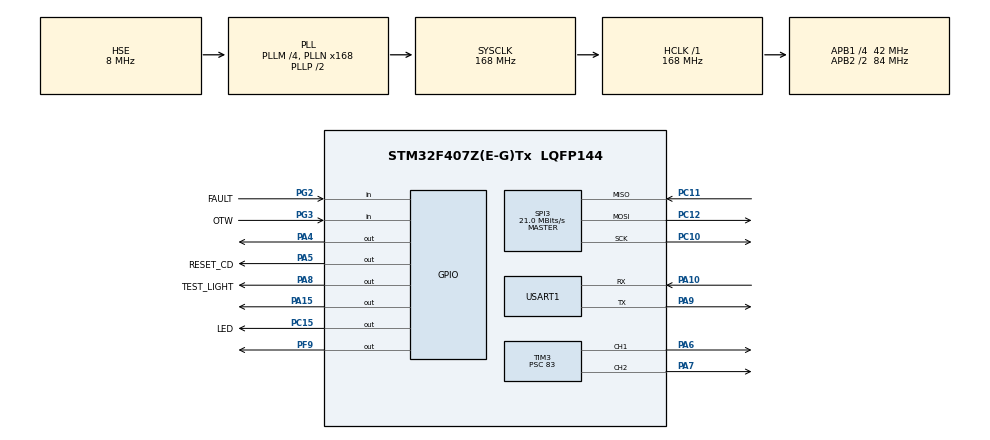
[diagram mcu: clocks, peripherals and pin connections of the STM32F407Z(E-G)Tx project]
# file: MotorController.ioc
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Mcu.Family=STM32F4
Mcu.Name=STM32F407Z(E-G)Tx
Mcu.Package=LQFP144
NVIC.PriorityGroup=NVIC_PRIORITYGROUP_4
NVIC.TIM2_IRQn=true\:0\:0\:true\:false\:true\:true
NVIC.TIM3_IRQn=true\:0\:0\:false\:false\:true\:true
PA10.Mode=Asynchronous
PA10.Signal=USART1_RX
PA15.Signal=GPIO_Output
PA4.Signal=GPIO_Output
PA5.GPIO_Label=RESET_CD
PA5.Signal=GPIO_Output
PA6.Signal=S_TIM3_CH1
PA7.Signal=S_TIM3_CH2
PA8.GPIO_Label=TEST_LIGHT
PA8.Signal=GPIO_Output
PA9.Mode=Asynchronous
PA9.Signal=USART1_TX
PC10.Mode=Full_Duplex_Master
PC10.Signal=SPI3_SCK
PC11.Mode=Full_Duplex_Master
PC11.Signal=SPI3_MISO
PC12.Mode=Full_Duplex_Master
PC12.Signal=SPI3_MOSI
PC15-OSC32_OUT.GPIO_Label=LED
PC15-OSC32_OUT.Signal=GPIO_Output
PF9.Signal=GPIO_Output
PG2.GPIO_Label=FAULT
PG2.Signal=GPIO_Input
PG3.GPIO_Label=OTW
PG3.Signal=GPIO_Input
PH0-OSC_IN.Mode=HSE-External-Oscillator
PH0-OSC_IN.Signal=RCC_OSC_IN
PH1-OSC_OUT.Mode=HSE-External-Oscillator
PH1-OSC_OUT.Signal=RCC_OSC_OUT
ProjectManager.HeapSize=0x200
ProjectManager.StackSize=0x400
ProjectManager.TargetToolchain=MDK-ARM V5
RCC.48MHZClocksFreq_Value=84000000
RCC.AHBFreq_Value=168000000
RCC.APB1CLKDivider=RCC_HCLK_DIV4
RCC.APB1Freq_Value=42000000
RCC.APB1TimFreq_Value=84000000
RCC.APB2CLKDivider=RCC_HCLK_DIV2
RCC.APB2Freq_Value=84000000
RCC.APB2TimFreq_Value=168000000
RCC.CortexFreq_Value=168000000
RCC.HCLKFreq_Value=168000000
RCC.HSE_VALUE=8000000
RCC.HSI_VALUE=16000000
RCC.LSE_VALUE=32768
RCC.PLLM=4
RCC.PLLN=168
RCC.PLLSourceVirtual=RCC_PLLSOURCE_HSE
RCC.SYSCLKFreq_VALUE=168000000
RCC.SYSCLKSource=RCC_SYSCLKSOURCE_PLLCLK
RCC.VCOOutputFreq_Value=336000000
SH.S_TIM3_CH1.0=TIM3_CH1,Output Compare1 CH1
SH.S_TIM3_CH2.0=TIM3_CH2,Output Compare2 CH2
SPI3.CalculateBaudRate=21.0 MBits/s
SPI3.Direction=SPI_DIRECTION_2LINES
SPI3.Mode=SPI_MODE_MASTER
SPI3.VirtualType=VM_MASTER
TIM2.Period=999
TIM2.Prescaler=839
TIM3.Channel-Output\ Compare1\ CH1=TIM_CHANNEL_1
TIM3.Channel-Output\ Compare2\ CH2=TIM_CHANNEL_2
TIM3.Period=499
TIM3.Prescaler=83
USART1.VirtualMode=VM_ASYNC
VP_TIM2_VS_ClockSourceINT.Mode=Internal
board=MotorController

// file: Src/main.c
/**
  ******************************************************************************
  * File Name          : main.c
  * Description        : Main program body
  ******************************************************************************
  ** This notice applies to any and all portions of this file
  * that are not between comment pairs USER CODE BEGIN and
  * USER CODE END. Other portions of this file, whether
  * inserted by the user or by software development tools
  * are owned by their respective copyright owners.
  *
  * COPYRIGHT(c) 2018 STMicroelectronics
  *
  * Redistribution and use in source and binary forms, with or without modification,
  * are permitted provided that the following conditions are met:
  *   1. Redistributions of source code must retain the above copyright notice,
  *      this list of conditions and the following disclaimer.
  *   2. Redistributions in binary form must reproduce the above copyright notice,
  *      this list of conditions and the following disclaimer in the documentation
  *      and/or other materials provided with the distribution.
  *   3. Neither the name of STMicroelectronics nor the names of its contributors
  *      may be used to endorse or promote products derived from this software
  *      without specific prior written permission.
  *
  * THIS SOFTWARE IS PROVIDED BY THE COPYRIGHT HOLDERS AND CONTRIBUTORS "AS IS"
  * AND ANY EXPRESS OR IMPLIED WARRANTIES, INCLUDING, BUT NOT LIMITED TO, THE
  * IMPLIED WARRANTIES OF MERCHANTABILITY AND FITNESS FOR A PARTICULAR PURPOSE ARE
  * DISCLAIMED. IN NO EVENT SHALL THE COPYRIGHT HOLDER OR CONTRIBUTORS BE LIABLE
  * FOR ANY DIRECT, INDIRECT, INCIDENTAL, SPECIAL, EXEMPLARY, OR CONSEQUENTIAL
  * DAMAGES (INCLUDING, BUT NOT LIMITED TO, PROCUREMENT OF SUBSTITUTE GOODS OR
  * SERVICES; LOSS OF USE, DATA, OR PROFITS; OR BUSINESS INTERRUPTION) HOWEVER
  * CAUSED AND ON ANY THEORY OF LIABILITY, WHETHER IN CONTRACT, STRICT LIABILITY,
  * OR TORT (INCLUDING NEGLIGENCE OR OTHERWISE) ARISING IN ANY WAY OUT OF THE USE
  * OF THIS SOFTWARE, EVEN IF ADVISED OF THE POSSIBILITY OF SUCH DAMAGE.
  *
  ******************************************************************************
  */

#include "main.h"
#include "stm32f4xx_hal.h"

SPI_HandleTypeDef hspi3;

TIM_HandleTypeDef htim2;
TIM_HandleTypeDef htim3;

UART_HandleTypeDef huart1;

/* USER CODE BEGIN PV */
/* Private variables ---------------------------------------------------------*/

/* USER CODE END PV */

void SystemClock_Config(void);
static void MX_GPIO_Init(void);
static void MX_TIM3_Init(void);
static void MX_USART1_UART_Init(void);
static void MX_TIM2_Init(void);
static void MX_SPI3_Init(void);

void HAL_TIM_MspPostInit(TIM_HandleTypeDef *htim);

/* USER CODE BEGIN PFP */
/* Private function prototypes -----------------------------------------------*/
void USER_PWM_SetDutyRatio(TIM_HandleTypeDef *htim,uint32_t Channel,uint8_t value);

void ResetAB_Pin_High(void);
void ResetAB_Pin_Low(void);

static void ADS8684_Init(void);
static void ADS8684_RST(void);
static void ADS8684_STDBY(void);
static void ADS8684_Range_Select(void);
/* USER CODE END PFP */

/* USER CODE BEGIN 0 */

extern _Bool countTim;
float count = 0;
_Bool flag = 0;
int percentPWM = 10;
int testt = 0;
int SYSCLOCK = 0;
int HCLKFRQ = 0;
int PCLK1 = 0;
int PCLK2 = 0;
int OTW_INFO = 99;
int FAULT_INFO = 99;

/*-------------- ADS8684 reg define --------------*/
uint8_t Received_DATA0[4] = {0x00,0x00,0x00,0x00};
uint8_t Received_DATA1[4] = {0x00,0x00,0x00,0x00};
uint8_t Received_DATA2[4] = {0x00,0x00,0x00,0x00};
uint8_t Received_DATA3[4] = {0x00,0x00,0x00,0x00};
uint8_t Received_DATA4[4] = {0x00,0x00,0x00,0x00};
uint8_t Received_DATA5[4] = {0x00,0x00,0x00,0x00};
uint8_t Received_DATA6[4] = {0x00,0x00,0x00,0x00};
uint8_t Received_DATA7[4] = {0x00,0x00,0x00,0x00};
uint8_t STORE_DATA0[400];
uint8_t STORE_DATA1[400];
uint8_t STORE_DATA2[400];
uint8_t STORE_DATA3[400];
uint8_t STORE_DATA4[400];
uint8_t STORE_DATA5[400];
uint8_t STORE_DATA6[400];
uint8_t STORE_DATA7[400];

uint8_t STDBY[2] = {130,0};
uint8_t RST[2] = {133,0};
uint8_t Range_Select0[2] = {11,6};
uint8_t Range_Select1[2] = {13,6};

uint8_t RD_AUTO_SEQ_EN[3] = {2,0,0};
uint8_t rece_AUTO_SEQ_EN[3] = {0,0,0};

uint8_t WR_AUTO_SEQ_EN[3] = {3,1,0};

uint8_t RD_Feature_Select[3] = {6,0,0};
uint8_t rece_Feature_Select[3] = {0,0,0};

uint8_t WR_Feature_Select[2] = {7,40};

uint8_t MAN_CH0[2] = {192,0};
uint8_t MAN_CH1[2] = {196,0};
uint8_t MAN_CH2[2] = {200,0};
uint8_t MAN_CH3[2] = {204,0};
uint8_t AUTO_CH[2] = {160,0};
uint8_t NO_OP[4] = {0,0,0,0};
uint8_t Received_DATA[4] = {0,0,0,0};
uint8_t flag1 = 0;
float voltage1 = 0.0f;
float voltage2 = 0.0f;
float voltage3 = 0.0f;
float voltage0 = 0.0f;
float Data0=0;
float Data1=0;
float Data2=0;
float Data3=0;
float Data4=0;
float Data5=0;
float Data6=0;
float Data7=0;
float bit = 0.00007812; //2*10.24/(2^16);
float bit1 = 6553.0799; //1/(0.5*2*5/32768);
float bit3 = 0.0003052f; //0.5*4*5/32768;
float bit2 = 0.000078125f; //5.12/2^16;
uint8_t WR_ch0_Shift[3] ;     //在ch0写入
uint8_t WR_ch1_Shift[3];      //在ch1写入
uint8_t WR_ch2_Shift[3];   //在ch2写入
uint8_t WR_ch3_Shift[3];    //在ch3写入
uint8_t WR_ch4_Shift[3] ;     //在ch0写入
uint8_t WR_ch5_Shift[3];      //在ch1写入
uint8_t WR_ch6_Shift[3];   //在ch2写入
uint8_t WR_ch7_Shift[3];    //在ch3写入
/* USER CODE END 0 */

int main(void)
{

  /* MCU Configuration----------------------------------------------------------*/

  /* Reset of all peripherals, Initializes the Flash interface and the Systick. */
  HAL_Init();

  /* Configure the system clock */
  SystemClock_Config();

  /* Initialize all configured peripherals */
  MX_GPIO_Init();
  MX_TIM3_Init();
  MX_USART1_UART_Init();
  MX_TIM2_Init();
  MX_SPI3_Init();

  /* USER CODE BEGIN 2 */
	HAL_TIM_Base_Start_IT(&htim2);

	//AD采集初始化程序
	ADS8684_Init();
	ADS8684_RST();
  ADS8684_Range_Select();

//	ResetAB_Pin_Low();

//	HAL_Delay(10000);
//	ResetAB_Pin_High();
//	HAL_Delay(1000);
//	testt = Set_AB_Voltage(4);
  /* USER CODE END 2 */

  /* Infinite loop */
  while (1)
  {

  /* USER CODE BEGIN 3 */
		//10ms控制周期  时间由TIM2控制
		while(!countTim);
		countTim = 0;

		count = count + 0.1f;
		if(count > 10)
		{
			percentPWM += 10;
			if(percentPWM > 99) percentPWM = 10;
			count = 0;

			flag = !flag;

				HAL_GPIO_WritePin(TEST_LIGHT_GPIO_Port,TEST_LIGHT_Pin,flag);
//			testt = Set_AB_Voltage(17);

			USER_PWM_SetDutyRatio(&htim3,TIM_CHANNEL_1,59);
			USER_PWM_SetDutyRatio(&htim3,TIM_CHANNEL_2,40);
//			percentPWM = 90;
////		USER_PWM_SetDutyRatio(&htim3,TIM_CHANNEL_2,count);
//		 printf("%d\r\n",1);
		}

			SYSCLOCK = HAL_RCC_GetSysClockFreq();;
			HCLKFRQ = HAL_RCC_GetHCLKFreq();
			PCLK1 = HAL_RCC_GetPCLK1Freq();
			PCLK2 = HAL_RCC_GetPCLK2Freq();

  }
  /* USER CODE END 3 */

}

/** System Clock Configuration
*/
void SystemClock_Config(void)
{

  RCC_OscInitTypeDef RCC_OscInitStruct;
  RCC_ClkInitTypeDef RCC_ClkInitStruct;

    /**Configure the main internal regulator output voltage
    */
  __HAL_RCC_PWR_CLK_ENABLE();

  __HAL_PWR_VOLTAGESCALING_CONFIG(PWR_REGULATOR_VOLTAGE_SCALE1);

    /**Initializes the CPU, AHB and APB busses clocks
    */
  RCC_OscInitStruct.OscillatorType = RCC_OSCILLATORTYPE_HSE;
  RCC_OscInitStruct.HSEState = RCC_HSE_ON;
  RCC_OscInitStruct.PLL.PLLState = RCC_PLL_ON;
  RCC_OscInitStruct.PLL.PLLSource = RCC_PLLSOURCE_HSE;
  RCC_OscInitStruct.PLL.PLLM = 4;
  RCC_OscInitStruct.PLL.PLLN = 168;
  RCC_OscInitStruct.PLL.PLLP = RCC_PLLP_DIV2;
  RCC_OscInitStruct.PLL.PLLQ = 4;
  if (HAL_RCC_OscConfig(&RCC_OscInitStruct) != HAL_OK)
  {
    _Error_Handler(__FILE__, __LINE__);
  }

    /**Initializes the CPU, AHB and APB busses clocks
    */
  RCC_ClkInitStruct.ClockType = RCC_CLOCKTYPE_HCLK|RCC_CLOCKTYPE_SYSCLK
                              |RCC_CLOCKTYPE_PCLK1|RCC_CLOCKTYPE_PCLK2;
  RCC_ClkInitStruct.SYSCLKSource = RCC_SYSCLKSOURCE_PLLCLK;
  RCC_ClkInitStruct.AHBCLKDivider = RCC_SYSCLK_DIV1;
  RCC_ClkInitStruct.APB1CLKDivider = RCC_HCLK_DIV4;
  RCC_ClkInitStruct.APB2CLKDivider = RCC_HCLK_DIV2;

  if (HAL_RCC_ClockConfig(&RCC_ClkInitStruct, FLASH_LATENCY_5) != HAL_OK)
  {
    _Error_Handler(__FILE__, __LINE__);
  }

    /**Configure the Systick interrupt time
    */
  HAL_SYSTICK_Config(HAL_RCC_GetHCLKFreq()/1000);

    /**Configure the Systick
    */
  HAL_SYSTICK_CLKSourceConfig(SYSTICK_CLKSOURCE_HCLK);

  /* SysTick_IRQn interrupt configuration */
  HAL_NVIC_SetPriority(SysTick_IRQn, 0, 0);
}

/* SPI3 init function */
static void MX_SPI3_Init(void)
{

  /* SPI3 parameter configuration*/
  hspi3.Instance = SPI3;
  hspi3.Init.Mode = SPI_MODE_MASTER;
  hspi3.Init.Direction = SPI_DIRECTION_2LINES;
  hspi3.Init.DataSize = SPI_DATASIZE_8BIT;
  hspi3.Init.CLKPolarity = SPI_POLARITY_LOW;
  hspi3.Init.CLKPhase = SPI_PHASE_1EDGE;
  hspi3.Init.NSS = SPI_NSS_SOFT;
  hspi3.Init.BaudRatePrescaler = SPI_BAUDRATEPRESCALER_2;
  hspi3.Init.FirstBit = SPI_FIRSTBIT_MSB;
  hspi3.Init.TIMode = SPI_TIMODE_DISABLE;
  hspi3.Init.CRCCalculation = SPI_CRCCALCULATION_DISABLE;
  hspi3.Init.CRCPolynomial = 10;
  if (HAL_SPI_Init(&hspi3) != HAL_OK)
  {
    _Error_Handler(__FILE__, __LINE__);
  }

}

/* TIM2 init function */
static void MX_TIM2_Init(void)
{

  TIM_ClockConfigTypeDef sClockSourceConfig;
  TIM_MasterConfigTypeDef sMasterConfig;

  htim2.Instance = TIM2;
  htim2.Init.Prescaler = 839;
  htim2.Init.CounterMode = TIM_COUNTERMODE_UP;
  htim2.Init.Period = 999;
  htim2.Init.ClockDivision = TIM_CLOCKDIVISION_DIV1;
  if (HAL_TIM_Base_Init(&htim2) != HAL_OK)
  {
    _Error_Handler(__FILE__, __LINE__);
  }

  sClockSourceConfig.ClockSource = TIM_CLOCKSOURCE_INTERNAL;
  if (HAL_TIM_ConfigClockSource(&htim2, &sClockSourceConfig) != HAL_OK)
  {
    _Error_Handler(__FILE__, __LINE__);
  }

  sMasterConfig.MasterOutputTrigger = TIM_TRGO_RESET;
  sMasterConfig.MasterSlaveMode = TIM_MASTERSLAVEMODE_DISABLE;
  if (HAL_TIMEx_MasterConfigSynchronization(&htim2, &sMasterConfig) != HAL_OK)
  {
    _Error_Handler(__FILE__, __LINE__);
  }

}

/* TIM3 init function */
static void MX_TIM3_Init(void)
{

  TIM_MasterConfigTypeDef sMasterConfig;
  TIM_OC_InitTypeDef sConfigOC;

  htim3.Instance = TIM3;
  htim3.Init.Prescaler = 83;
  htim3.Init.CounterMode = TIM_COUNTERMODE_UP;
  htim3.Init.Period = 499;
  htim3.Init.ClockDivision = TIM_CLOCKDIVISION_DIV1;
  if (HAL_TIM_OC_Init(&htim3) != HAL_OK)
  {
    _Error_Handler(__FILE__, __LINE__);
  }

  sMasterConfig.MasterOutputTrigger = TIM_TRGO_RESET;
  sMasterConfig.MasterSlaveMode = TIM_MASTERSLAVEMODE_DISABLE;
  if (HAL_TIMEx_MasterConfigSynchronization(&htim3, &sMasterConfig) != HAL_OK)
  {
    _Error_Handler(__FILE__, __LINE__);
  }

  sConfigOC.OCMode = TIM_OCMODE_TIMING;
  sConfigOC.Pulse = 0;
  sConfigOC.OCPolarity = TIM_OCPOLARITY_HIGH;
  sConfigOC.OCFastMode = TIM_OCFAST_DISABLE;
  if (HAL_TIM_OC_ConfigChannel(&htim3, &sConfigOC, TIM_CHANNEL_1) != HAL_OK)
  {
    _Error_Handler(__FILE__, __LINE__);
  }

  if (HAL_TIM_OC_ConfigChannel(&htim3, &sConfigOC, TIM_CHANNEL_2) != HAL_OK)
  {
    _Error_Handler(__FILE__, __LINE__);
  }

  HAL_TIM_MspPostInit(&htim3);

}

/* USART1 init function */
static void MX_USART1_UART_Init(void)
{

  huart1.Instance = USART1;
  huart1.Init.BaudRate = 115200;
  huart1.Init.WordLength = UART_WORDLENGTH_8B;
  huart1.Init.StopBits = UART_STOPBITS_1;
  huart1.Init.Parity = UART_PARITY_NONE;
  huart1.Init.Mode = UART_MODE_TX_RX;
  huart1.Init.HwFlowCtl = UART_HWCONTROL_NONE;
  huart1.Init.OverSampling = UART_OVERSAMPLING_16;
  if (HAL_UART_Init(&huart1) != HAL_OK)
  {
    _Error_Handler(__FILE__, __LINE__);
  }

}

/** Configure pins as
        * Analog
        * Input
        * Output
        * EVENT_OUT
        * EXTI
*/
static void MX_GPIO_Init(void)
{

  GPIO_InitTypeDef GPIO_InitStruct;

  /* GPIO Ports Clock Enable */
  __HAL_RCC_GPIOC_CLK_ENABLE();
  __HAL_RCC_GPIOF_CLK_ENABLE();
  __HAL_RCC_GPIOH_CLK_ENABLE();
  __HAL_RCC_GPIOA_CLK_ENABLE();
  __HAL_RCC_GPIOG_CLK_ENABLE();

  /*Configure GPIO pin Output Level */
  HAL_GPIO_WritePin(LED_GPIO_Port, LED_Pin, GPIO_PIN_RESET);

  /*Configure GPIO pin Output Level */
  HAL_GPIO_WritePin(GPIOF, GPIO_PIN_9, GPIO_PIN_RESET);

  /*Configure GPIO pin Output Level */
  HAL_GPIO_WritePin(GPIOA, GPIO_PIN_4|RESET_CD_Pin|TEST_LIGHT_Pin|GPIO_PIN_15, GPIO_PIN_RESET);

  /*Configure GPIO pin : LED_Pin */
  GPIO_InitStruct.Pin = LED_Pin;
  GPIO_InitStruct.Mode = GPIO_MODE_OUTPUT_PP;
  GPIO_InitStruct.Pull = GPIO_NOPULL;
  GPIO_InitStruct.Speed = GPIO_SPEED_FREQ_LOW;
  HAL_GPIO_Init(LED_GPIO_Port, &GPIO_InitStruct);

  /*Configure GPIO pin : PF9 */
  GPIO_InitStruct.Pin = GPIO_PIN_9;
  GPIO_InitStruct.Mode = GPIO_MODE_OUTPUT_PP;
  GPIO_InitStruct.Pull = GPIO_NOPULL;
  GPIO_InitStruct.Speed = GPIO_SPEED_FREQ_LOW;
  HAL_GPIO_Init(GPIOF, &GPIO_InitStruct);

  /*Configure GPIO pins : PA4 RESET_CD_Pin TEST_LIGHT_Pin PA15 */
  GPIO_InitStruct.Pin = GPIO_PIN_4|RESET_CD_Pin|TEST_LIGHT_Pin|GPIO_PIN_15;
  GPIO_InitStruct.Mode = GPIO_MODE_OUTPUT_PP;
  GPIO_InitStruct.Pull = GPIO_NOPULL;
  GPIO_InitStruct.Speed = GPIO_SPEED_FREQ_LOW;
  HAL_GPIO_Init(GPIOA, &GPIO_InitStruct);

  /*Configure GPIO pins : FAULT_Pin OTW_Pin */
  GPIO_InitStruct.Pin = FAULT_Pin|OTW_Pin;
  GPIO_InitStruct.Mode = GPIO_MODE_INPUT;
  GPIO_InitStruct.Pull = GPIO_NOPULL;
  HAL_GPIO_Init(GPIOG, &GPIO_InitStruct);

}

/* USER CODE BEGIN 4 */
void HAL_TIM_PeriodElapsedCallback(TIM_HandleTypeDef *htim)
{

		//AD接收程序，再tim2的中断里调用。周期10ms
    if (htim->Instance == htim2.Instance)
    {
					HAL_GPIO_WritePin(GPIOA, GPIO_PIN_15, GPIO_PIN_RESET);
					HAL_SPI_Transmit(&hspi3, AUTO_CH, 2 ,100);
					HAL_GPIO_WritePin(GPIOA, GPIO_PIN_15, GPIO_PIN_SET);

					HAL_GPIO_WritePin(GPIOA, GPIO_PIN_15, GPIO_PIN_RESET);
					HAL_SPI_TransmitReceive(&hspi3, NO_OP, Received_DATA0,4,100);
					HAL_GPIO_WritePin(GPIOA, GPIO_PIN_15, GPIO_PIN_SET);

					HAL_GPIO_WritePin(GPIOA, GPIO_PIN_15, GPIO_PIN_RESET);
					HAL_SPI_TransmitReceive(&hspi3, NO_OP, Received_DATA1,4,100);
					HAL_GPIO_WritePin(GPIOA, GPIO_PIN_15, GPIO_PIN_SET);

					HAL_GPIO_WritePin(GPIOA, GPIO_PIN_15, GPIO_PIN_RESET);
					HAL_SPI_TransmitReceive(&hspi3, NO_OP, Received_DATA2,4,100);
					HAL_GPIO_WritePin(GPIOA, GPIO_PIN_15, GPIO_PIN_SET);

					HAL_GPIO_WritePin(GPIOA, GPIO_PIN_15, GPIO_PIN_RESET);
					HAL_SPI_TransmitReceive(&hspi3, NO_OP, Received_DATA3,4,100);
					HAL_GPIO_WritePin(GPIOA, GPIO_PIN_15, GPIO_PIN_SET);

          voltage0 =  (float)((Received_DATA0[2]<<8) + Received_DATA0[3])*bit;
					voltage1 =  (float)((Received_DATA1[2]<<8) + Received_DATA1[3])*bit;
					voltage2 =  -10.24 + (float)((Received_DATA2[2]<<8) + Received_DATA2[3])*bit;
					voltage3 =  -10.24 + (float)((Received_DATA3[2]<<8) + Received_DATA3[3])*bit;

    }

}

/*------------------ ADS8684 Init ---------------------*/
/* 进入STDBY模式
   对autoseq先读后写再读  应该是读FF  写1 读1
	 对feature先读后写再度  应该是读0   写40 读40
*/
void ADS8684_Init(void)
{
//	printf("This is ADS8684 SPI Init\r\n");
	HAL_GPIO_WritePin(GPIOA, GPIO_PIN_15, GPIO_PIN_RESET);
	HAL_SPI_Transmit(&hspi3, STDBY, 2, 1000);   //进入STDBY模式
	HAL_GPIO_WritePin(GPIOA, GPIO_PIN_15, GPIO_PIN_SET);
	HAL_Delay(100);

	HAL_GPIO_WritePin(GPIOA, GPIO_PIN_15, GPIO_PIN_RESET);
	HAL_SPI_TransmitReceive(&hspi3, RD_AUTO_SEQ_EN, rece_AUTO_SEQ_EN,4,1000);   //读autoseq 默认 ff
	HAL_GPIO_WritePin(GPIOA, GPIO_PIN_15, GPIO_PIN_SET);

//	printf("receive data1 is %d\r\n",rece_AUTO_SEQ_EN[0]);
//	printf("receive data2 is %d\r\n",rece_AUTO_SEQ_EN[1]);
//	printf("receive data3 is %d\r\n",rece_AUTO_SEQ_EN[2]);

	HAL_GPIO_WritePin(GPIOA, GPIO_PIN_15, GPIO_PIN_RESET);
	HAL_SPI_Transmit(&hspi3, WR_AUTO_SEQ_EN, 3, 1000);    //写autoseq   最后一位1
	HAL_GPIO_WritePin(GPIOA, GPIO_PIN_15, GPIO_PIN_SET);
	HAL_Delay(1000);

	HAL_GPIO_WritePin(GPIOA, GPIO_PIN_15, GPIO_PIN_RESET);
	HAL_SPI_TransmitReceive(&hspi3, RD_AUTO_SEQ_EN, rece_AUTO_SEQ_EN,4,1000);   //读autoseq 默认 ff
	HAL_GPIO_WritePin(GPIOA, GPIO_PIN_15, GPIO_PIN_SET);
//  printf("write receive data1 is %d\r\n",rece_AUTO_SEQ_EN[0]);
//	printf("write receive data2 is %d\r\n",rece_AUTO_SEQ_EN[1]);
//	printf("write receive data3 is %d\r\n",rece_AUTO_SEQ_EN[2]);

	HAL_GPIO_WritePin(GPIOA, GPIO_PIN_15, GPIO_PIN_RESET);
	HAL_SPI_TransmitReceive(&hspi3, RD_Feature_Select, rece_Feature_Select,4,1000); //读feature  默认00
	HAL_GPIO_WritePin(GPIOA, GPIO_PIN_15, GPIO_PIN_SET);
//  HAL_Delay(1000);

//	printf("receive data4 is %d\r\n",rece_Feature_Select[0]);
//	printf("receive data5 is %d\r\n",rece_Feature_Select[1]);
//	printf("receive data6 is %d\r\n",rece_Feature_Select[2]);

	HAL_GPIO_WritePin(GPIOA, GPIO_PIN_15, GPIO_PIN_RESET);
	HAL_SPI_Transmit(&hspi3, WR_Feature_Select, 4, 1000);    //写feature 40
	HAL_GPIO_WritePin(GPIOA, GPIO_PIN_15, GPIO_PIN_SET);
//	HAL_Delay(1000);

	HAL_GPIO_WritePin(GPIOA, GPIO_PIN_15, GPIO_PIN_RESET);
	HAL_SPI_TransmitReceive(&hspi3, RD_Feature_Select, rece_Feature_Select,4,1000); // 读feature 应该是40
	HAL_GPIO_WritePin(GPIOA, GPIO_PIN_15, GPIO_PIN_SET);
//	HAL_Delay(1000);

//	printf("receive data7 is %d\r\n",rece_Feature_Select[0]);
//	printf("receive data8 is %d\r\n",rece_Feature_Select[1]);
//	printf("receive data9 is %d\r\n",rece_Feature_Select[2]);
//
//	printf("ADS8684 Intial is Done\r\n");
}

/*------------------ ADS8684 RST ---------------------*/
void ADS8684_RST(void)
{
	HAL_GPIO_WritePin(GPIOA, GPIO_PIN_15, GPIO_PIN_RESET);
	HAL_SPI_Transmit(&hspi3, RST, 2, 1000);   //进入RST模式
	HAL_GPIO_WritePin(GPIOA, GPIO_PIN_15, GPIO_PIN_SET);
	HAL_Delay(100);
}

void ADS8684_STDBY(void)
{
	HAL_GPIO_WritePin(GPIOA, GPIO_PIN_15, GPIO_PIN_RESET);
	HAL_SPI_Transmit(&hspi3, STDBY, 2, 1000);   //进入STDBY模式
	HAL_GPIO_WritePin(GPIOA, GPIO_PIN_15, GPIO_PIN_SET);
	HAL_Delay(100);
}

void ADS8684_Range_Select(void)
{
	//设置1、2通道为0~5.12V的输入电压范围
  HAL_GPIO_WritePin(GPIOA, GPIO_PIN_15, GPIO_PIN_RESET);
	HAL_SPI_Transmit(&hspi3, Range_Select0, 2, 1000);   //选择ch范围
	HAL_GPIO_WritePin(GPIOA, GPIO_PIN_15, GPIO_PIN_SET);
	HAL_Delay(100);
  HAL_GPIO_WritePin(GPIOA, GPIO_PIN_15, GPIO_PIN_RESET);
	HAL_SPI_Transmit(&hspi3, Range_Select1, 2, 1000);   //选择ch范围
	HAL_GPIO_WritePin(GPIOA, GPIO_PIN_15, GPIO_PIN_SET);
	HAL_Delay(100);
}

/**
  * @brief  调整PWM占空比
  * @param  value为占空比 value=50 即占空比为50%
  * @retval None
  */
void USER_PWM_SetDutyRatio(TIM_HandleTypeDef *htim,uint32_t Channel,uint8_t value)
{
    TIM_OC_InitTypeDef sConfigOC;

    uint32_t period=htim->Init.Period+1;
    uint32_t pluse=(value * period)/100;

    sConfigOC.OCMode = TIM_OCMODE_PWM1;
    sConfigOC.Pulse = pluse;
    sConfigOC.OCPolarity = TIM_OCPOLARITY_HIGH;
    sConfigOC.OCFastMode = TIM_OCFAST_DISABLE;
    HAL_TIM_PWM_ConfigChannel(htim, &sConfigOC, Channel);
    HAL_TIM_PWM_Start(htim, Channel);
}

//将RESET_AB引脚拉高，高电平为工作状态
void ResetAB_Pin_High(void)
{
	HAL_GPIO_WritePin(GPIOA,GPIO_PIN_4,GPIO_PIN_SET);
	HAL_GPIO_WritePin(GPIOA,GPIO_PIN_5,GPIO_PIN_SET);
}

//将RESET_AB引脚拉低，低电平为重启状态
void ResetAB_Pin_Low(void)
{
	HAL_GPIO_WritePin(GPIOA,GPIO_PIN_4,GPIO_PIN_RESET);
	HAL_GPIO_WritePin(GPIOA,GPIO_PIN_5,GPIO_PIN_RESET);
}

#define MAX_VALUE 24.0f
#define MIN_VALUE -24.0f
//设置AB端电压函数
int Set_AB_Voltage(float value)
{
	//占空比
	int percent = 0;

	percent = (int)(50.0f - value / MAX_VALUE * 50.0f);

	//进行限幅处理
	if(percent > 99)
		percent = 99;
	else if(percent < 2)
		percent = 2;

	USER_PWM_SetDutyRatio(&htim3,TIM_CHANNEL_1,percent);

	return percent;
}

#ifdef __GNUC__
  /* With GCC/RAISONANCE, small printf (option LD Linker->Libraries->Small printf
     set to 'Yes') calls __io_putchar() */
  #define PUTCHAR_PROTOTYPE int __io_putchar(int ch)
#else
  #define PUTCHAR_PROTOTYPE int fputc(int ch, FILE *f)
#endif /* __GNUC__ */
/**
  * @brief  Retargets the C library printf function to the USART.
  * @param  None
  * @retval None
  */
PUTCHAR_PROTOTYPE
{
  /* Place your implementation of fputc here */
  /* e.g. write a character to the EVAL_COM1 and Loop until the end of transmission */

  HAL_UART_Transmit(&huart1, (uint8_t *)&ch, 1, 0xFFFF);

  return ch;

}

/* USER CODE END 4 */

void _Error_Handler(char * file, int line)
{
  while(1)
  {
  }
}

/************************ (C) COPYRIGHT STMicroelectronics *****END OF FILE****/
